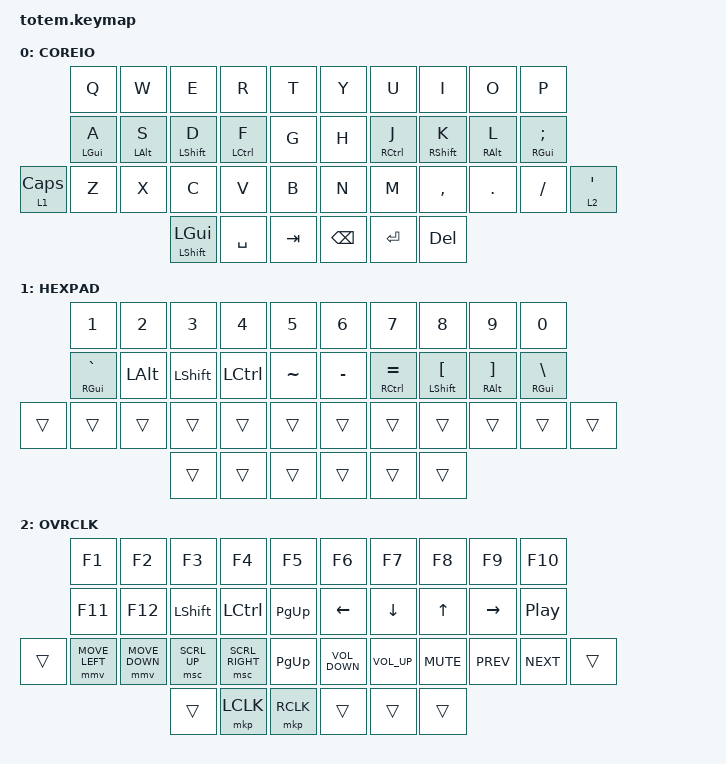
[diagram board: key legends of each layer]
//
//                                                        ▀▀▀▀▀     ▀▀▀▀▀          ▀▀█▀▀
//                                                        ▄▀▀▀▄  ▄  ▄▀▀▀▄  ▄  ▄▀▀▀▄  █  ▄▀▀▀▄
//                                                        █   █  █  █   █  █  █   █  █  █   █
//                                                         ▀▀▀   █   ▀▀▀   █   ▀▀▀   ▀   ▀▀▀
//                                                               █      ▄▄▄█▄▄▄    █   █
//                                                               ▀      █  █  █     █▄█
//                                                             ▀▀▀▀▀    █  █  █      ▀
//                                                                      ▀  ▀  ▀   QWERTY with a hint of Pan
//
// ▄▄▄▄▄▄▄▄▄▄▄▄▄▄▄▄▄▄▄▄▄▄▄▄▄▄▄▄▄▄▄▄▄▄▄▄▄▄▄▄▄▄▄▄▄▄▄▄▄▄▄▄▄▄▄▄▄▄▄▄▄▄▄▄▄▄▄▄▄▄▄▄▄▄▄▄▄▄▄▄▄▄▄▄▄▄▄▄▄▄▄▄▄▄▄▄▄▄▄▄▄▄▄▄▄▄▄▄▄▄▄▄▄▄▄▄▄▄▄▄▄▄▄▄▄▄▄▄▄▄▄▄▄▄▄▄▄▄▄▄▄▄▄▄▄▄▄▄▄
//
// ╭───────────────────────────────────────────────────────────────────────────────────────────────────────────────────────────────────────────────────╮
// │ I N C L U D E S                                                                                                                                   │
// ╰───────────────────────────────────────────────────────────────────────────────────────────────────────────────────────────────────────────────────╯

#include <behaviors.dtsi>
#include <dt-bindings/zmk/keys.h>
#include <dt-bindings/zmk/pointing.h>

// ╭───────────────────────────────────────────────────────────────────────────────────────────────────────────────────────────────────────────────────╮
// │ M A C R O S                                                                                                                                       │
// ╰───────────────────────────────────────────────────────────────────────────────────────────────────────────────────────────────────────────────────╯

&mt {
    quick-tap-ms = <100>;
    global-quick-tap;
    flavor = "tap-preferred";
    tapping-term-ms = <170>;
};

&lt {
    tapping-term-ms = <240>;
    flavor = "balanced";
    quick-tap-ms = <150>;
};

// SHIFT HELPER - easier re-mapping of shifted characters //

#define DEFINE_SHIFT_KEY(_behavior_name, _normal_key, _shifted_key)         \
    _behavior_name: _behavior_name {                                        \
      compatible = "zmk,behavior-mod-morph";                                \
      #binding-cells = <0>;                                                 \
      bindings = <_normal_key>, <_shifted_key>;                             \
      mods = <(MOD_LSFT|MOD_RSFT)>;                                         \
    };

// TAPDANCE HELPER - one-line tap dance creation //

#define DEFINE_DOUBLE_TAP_KEY(_behavior_name, _normal_key, _double_tap_key) \
    _behavior_name: _behavior_name {                                        \
      compatible = "zmk,behavior-tap-dance";                                \
      #binding-cells = <0>;                                                 \
      tapping-term-ms = <200>;                                              \
      bindings = <_normal_key>, <_double_tap_key>;                          \
    };

// COMBO HELPER - one-line combo creationg //

#define COMBO(NAME, BINDINGS, KEYPOS, LAYERS)                               \
  combo_##NAME {                                                            \
    timeout-ms = <50>;                                                      \
    bindings = <BINDINGS>;                                                  \
    key-positions = <KEYPOS>;                                               \
    layers = <LAYERS>;                                                      \
  };

//  ╭────────────────────────┬────────────────────────╮
//  │      0   1   2   3   4 │  5   6   7   8   9     │
//  │     10  11  12  13  14 │ 15  16  17  18  19     │
//  │ 20  21  22  23  24  25 │ 26  27  28  29  30  31 │
//  ╰───────────╮ 32  33  34 │ 35  36  37 ╭───────────╯
//              ╰────────────┴────────────╯

/ {
    behaviors {
        DEFINE_DOUBLE_TAP_KEY(td_par, &kp LPAR, &kp RPAR)
        DEFINE_DOUBLE_TAP_KEY(td_brc, &kp LBRC, &kp RBRC)
        DEFINE_DOUBLE_TAP_KEY(td_bkt, &kp LBKT, &kp RBKT)
        DEFINE_DOUBLE_TAP_KEY(td_lt, &kp LT, &kp GT)
        DEFINE_DOUBLE_TAP_KEY(td_slh, &kp FSLH, &kp BSLH)
        DEFINE_SHIFT_KEY(comma_semi, &kp COMMA, &kp SEMI)
        DEFINE_SHIFT_KEY(dot_colon, &kp DOT, &kp COLON)
        DEFINE_SHIFT_KEY(qu_excl, &kp QMARK, &kp EXCL)
        DEFINE_SHIFT_KEY(redo, &kp K_UNDO, &kp K_REDO)

        hml: home_row_mod_left {
            compatible = "zmk,behavior-hold-tap";
            #binding-cells = <2>;
            flavor = "tap-preferred";
            tapping-term-ms = <220>;
            quick-tap-ms = <120>;
            bindings = <&kp>, <&kp>;

            require-prior-idle-ms = <50>;
            // Prefer hold if in combination with a key of the right half
            hold-trigger-key-positions = <5 6 7 8 9 15 16 17 18 19 26 27 28 29 30 31 35 36 37>;
            hold-trigger-on-release;
        };

        hmr: home_row_mod_right {
            compatible = "zmk,behavior-hold-tap";
            #binding-cells = <2>;
            flavor = "tap-preferred";
            tapping-term-ms = <220>;
            quick-tap-ms = <120>;
            bindings = <&kp>, <&kp>;

            require-prior-idle-ms = <50>;
            // Prefer hold if in combination with a key of the left half
            hold-trigger-key-positions = <0 1 2 3 4 10 11 12 13 14 20 21 22 23 24 25 32 33 34>;
            hold-trigger-on-release;
        };
    };

    // ╭───────────────────────────────────────────────────────────────────────────────────────────────────────────────────────────────────────────────────╮
    // │ C O M B O S                                                                                                                                       │
    // ╰───────────────────────────────────────────────────────────────────────────────────────────────────────────────────────────────────────────────────╯
    //  ╭────────────────────────┬────────────────────────╮
    //  │      0   1   2   3   4 │  5   6   7   8   9     │
    //  │     10  11  12  13  14 │ 15  16  17  18  19     │
    //  │ 20  21  22  23  24  25 │ 26  27  28  29  30  31 │
    //  ╰───────────╮ 32  33  34 │ 35  36  37 ╭───────────╯
    //              ╰────────────┴────────────╯

    combos {
        compatible = "zmk,combos";

        COMBO(caps, &kp CAPS, 13 16, 0 1 2 3)
        COMBO(lbrc, &kp LBRC, 13 14, 8)
        COMBO(lt, &kp LT, 24 25, 8)
        COMBO(undo, &kp K_UNDO, 21 22, 0 1 2 3 4 5 6 7 8 9)
        COMBO(copy, &kp K_COPY, 22 23, 0 1 2 3 4 5 6 7 8 9)
        COMBO(paste, &kp K_PASTE, 23 24, 0 1 2 3 4 5 6 7 8 9)
    };

    // ▝▀▀▀▀▀▀▀▀▀▀▀▀▀▀▀▀▀▀▀▀▀▀▀▀▀▀▀▀▀▀▀▀▀▀▀▀▀▀▀▀▀▀▀▀▀▀▀▀▀▀▀▀▀▀▀▀▀▀▀▀▀▀▀▀▀▀▀▀▀▀▀▀▀▀▀▀▀▀▀▀▀▀▀▀▀▀▀▀▀▀▀▀▀▀▀▀▀▀▀▀▀▀▀▀▀▀▀▀▀▀▀▀▀▀▀▀▀▀▀▀▀▀▀▀▀▀▀▀▀▀▀▀▀▀▀▀▀▀▀▀▀▀▀▀▀▀▀▘
    // ╭───────────────────────────────────────────────────────────────────────────────────────────────────────────────────────────────────────────────────╮
    // │ K E Y M A P S                                                                                                                                     │
    // ╰───────────────────────────────────────────────────────────────────────────────────────────────────────────────────────────────────────────────────╯

    keymap {
        compatible = "zmk,keymap";

        qwerty {
            display-name = "COREIO";
            bindings = <
                &kp Q        &kp W        &kp E                    &kp R         &kp T      &kp Y          &kp U                 &kp I               &kp O        &kp P
                &hml LGUI A  &hml LALT S  &hml LEFT_SHIFT D        &hml LCTRL F  &kp G      &kp H          &hmr RIGHT_CONTROL J  &hmr RIGHT_SHIFT K  &hmr RALT L  &hmr RGUI SEMICOLON
&lt 1 CAPSLOCK  &kp Z        &kp X        &kp C                    &kp V         &kp B      &kp N          &kp M                 &kp COMMA           &kp DOT      &kp SLASH            &lt 2 APOSTROPHE
                                          &mt LEFT_SHIFT LEFT_GUI  &kp SPACE     &kp TAB    &kp BACKSPACE  &kp ENTER             &kp DELETE
            >;
        };

        numbers {
            display-name = "HEXPAD";
            bindings = <
        &kp N1          &kp N2    &kp N3     &kp N4     &kp N5       &kp N6     &kp N7                   &kp N8                       &kp N9                       &kp N0
        &mt RGUI GRAVE  &kp LALT  &kp LSHFT  &kp LCTRL  &kp TILDE    &kp MINUS  &mt RIGHT_CONTROL EQUAL  &mt LEFT_SHIFT LEFT_BRACKET  &mt RIGHT_ALT RIGHT_BRACKET  &mt RIGHT_GUI BACKSLASH
&trans  &trans          &trans    &trans     &trans     &trans       &trans     &trans                   &trans                       &trans                       &trans                   &trans
                                  &trans     &trans     &trans       &trans     &trans                   &trans
            >;
        };

        extra {
            display-name = "OVRCLK";
            bindings = <
        &kp F1          &kp F2          &kp F3          &kp F4            &kp F5         &kp F6             &kp F7           &kp F8      &kp F9      &kp F10
        &kp F11         &kp F12         &kp LEFT_SHIFT  &kp LEFT_CONTROL  &kp PAGE_UP    &kp LEFT           &kp DOWN         &kp UP      &kp RIGHT   &kp C_PLAY_PAUSE
&trans  &mmv MOVE_LEFT  &mmv MOVE_DOWN  &msc SCRL_UP    &msc SCRL_RIGHT   &kp PAGE_UP    &kp C_VOLUME_DOWN  &kp C_VOLUME_UP  &kp C_MUTE  &kp C_PREV  &kp C_NEXT        &trans
                                        &trans          &mkp LCLK         &mkp RCLK      &trans             &trans           &trans
            >;
        };
    };
};

// ▝▀▀▀▀▀▀▀▀▀▀▀▀▀▀▀▀▀▀▀▀▀▀▀▀▀▀▀▀▀▀▀▀▀▀▀▀▀▀▀▀▀▀▀▀▀▀▀▀▀▀▀▀▀▀▀▀▀▀▀▀▀▀▀▀▀▀▀▀▀▀▀▀▀▀▀▀▀▀▀▀▀▀▀▀▀▀▀▀▀▀▀▀▀▀▀▀▀▀▀▀▀▀▀▀▀▀▀▀▀▀▀▀▀▀▀▀▀▀▀▀▀▀▀▀▀▀▀▀▀▀▀▀▀▀▀▀▀▀▀▀▀▀▀▀▀▀▀▘
//
//                                                                 ██████
//                                                                   ██  ▄▄▄▄
//                                                                   ██ ██▀▀██
//                                                                   ▀▀ ██▄▄██
//                                                               ██████  ▀▀▀▀
//                                                                 ██ ▄▄▄▄▄▄
//                                                                 ██ ██▀▀▀▀
//                                                                 ██ ██████
//                                                                    ██▄▄▄▄
//                                                                    ▀▀▀▀▀▀
//                                                                  ████████
//                                                                  ██ ██ ██
//                                                                  ██ ██ ██
//                                                                  ▀▀ ▀▀ ▀▀
//                                                                  ████████
//
// ▝▀▀▀▀▀▀▀▀▀▀▀▀▀▀▀▀▀▀▀▀▀▀▀▀▀▀▀▀▀▀▀▀▀▀▀▀▀▀▀▀▀▀▀▀▀▀▀▀▀▀▀▀▀▀▀▀▀▀▀▀▀▀▀▀▀▀▀▀▀▀▀▀▀▀▀▀▀▀▀▀▀▀▀▀▀▀▀▀▀▀▀▀▀▀▀▀▀▀▀▀▀▀▀▀▀▀▀▀▀▀▀▀▀▀▀▀▀▀▀▀▀▀▀▀▀▀▀▀▀▀▀▀▀▀▀▀▀▀▀▀▀▀▀▀▀▀▀▘
